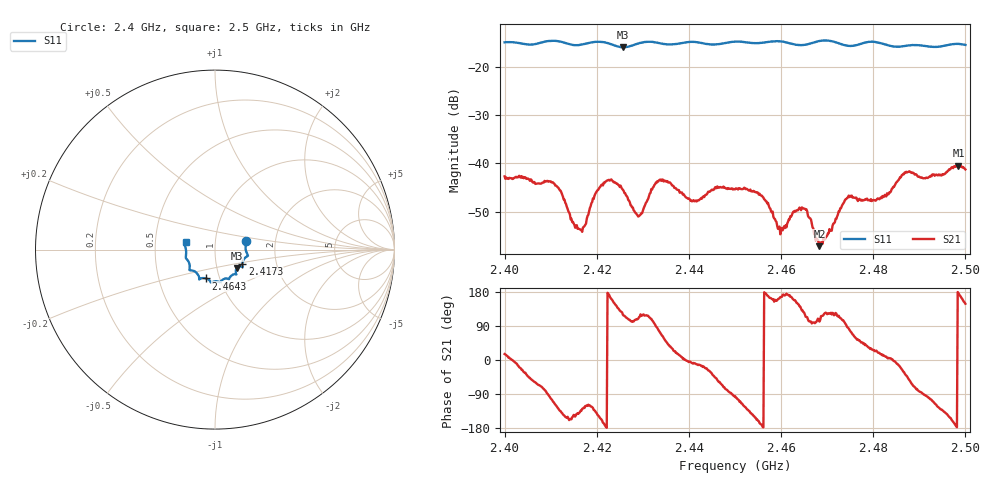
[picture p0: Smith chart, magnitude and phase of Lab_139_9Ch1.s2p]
# Hz S RI R 50
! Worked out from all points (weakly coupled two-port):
!   601 points, 2.4 GHz to 2.5 GHz, reference 50 ohm
!   highest |S21| = -40.44 dB at 2.4985 GHz (marker M1); lowest = -57.2 dB at 2.4683 GHz (marker M2)
!   lowest |S11| = -15.9 dB at 2.4257 GHz (marker M3), VSWR 1.38, Z = 62.5 - j13.1 ohm
!   |S11| at or under -10 dB: start of sweep to end of sweep
!   S12 and S22 are empty: the file has one direction only
!   S11 on the Smith chart (normalised r, x): 2.4 GHz: 1.41, +0.14; 2.4173 GHz: 1.34, -0.23; 2.4643 GHz: 0.86, -0.28; 2.5 GHz: 0.72, +0.06
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2.4e9  0.173 0.0493  0.00705 0.00199  0 0  0 0
2.410333e9  0.1838 -0.0335  -0.00175 -0.00612  0 0  0 0
2.416667e9  0.1528 -0.0746  -0.0014 -0.00146  0 0  0 0
2.417333e9  0.1521 -0.0819  -0.00134 -0.00179  0 0  0 0
2.419333e9  0.1534 -0.0958  -0.00285 -0.00319  0 0  0 0
2.421333e9  0.1538 -0.0959  -0.00572 -0.00148  0 0  0 0
2.425667e9  0.1227 -0.1024  -0.00261 0.00465  0 0  0 0
2.429333e9  0.1165 -0.1333  -0.00119 0.00264  0 0  0 0
2.433333e9  0.1127 -0.1369  0.00111 0.00639  0 0  0 0
2.440833e9  0.078 -0.1647  0.00401 -0.000657  0 0  0 0
2.45e9  0.0294 -0.1809  -0.000468 -0.00536  0 0  0 0
2.455833e9  -0.00535 -0.1779  -0.00458 -0.000685  0 0  0 0
2.459833e9  -0.0232 -0.1828  -0.00179 0.00044  0 0  0 0
2.464333e9  -0.0499 -0.1607  -0.00236 0.00227  0 0  0 0
2.466667e9  -0.0759 -0.1597  -0.000267 0.00234  0 0  0 0
2.468333e9  -0.086 -0.1648  -0.000273 0.00136  0 0  0 0
2.4745e9  -0.1016 -0.1308  0.000355 0.0044  0 0  0 0
2.483333e9  -0.1406 -0.0901  0.00477 0.000473  0 0  0 0
2.487333e9  -0.1573 -0.0544  0.00586 -0.00552  0 0  0 0
2.491333e9  -0.1615 -0.0316  -0.000494 -0.00699  0 0  0 0
2.4985e9  -0.1701 0.0338  -0.00948 0.000606  0 0  0 0
2.5e9  -0.1639 0.042  -0.00737 0.00453  0 0  0 0
